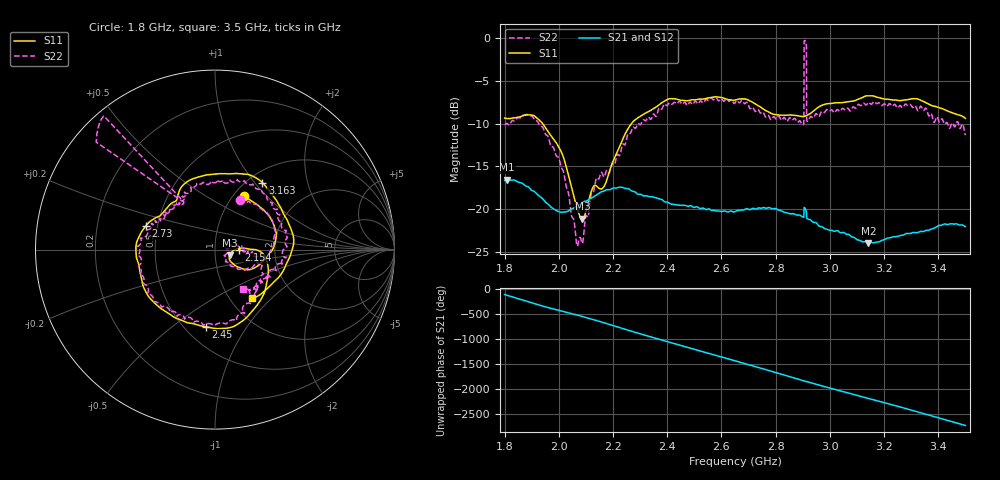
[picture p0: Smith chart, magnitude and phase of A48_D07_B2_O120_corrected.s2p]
! Created with skrf 1.9.0 (http://scikit-rf.org).
# Hz S RI R 50.0
!freq ReS11 ImS11 ReS21 ImS21 ReS12 ImS12 ReS22 ImS22
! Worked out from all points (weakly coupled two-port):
!   1601 points, 1.8 GHz to 3.5 GHz, reference 50 ohm
!   highest |S21| = -16.54 dB at 1.81 GHz (marker M1); lowest = -23.9 dB at 3.142 GHz (marker M2)
!   lowest |S11| = -21.1 dB at 2.087 GHz (marker M3), VSWR 1.19, Z = 58.8 - j3.83 ohm
!   |S11| at or under -10 dB: 1.94 GHz to 2.268 GHz (327.3 MHz wide, 15.6 % of centre)
!   |S22| runs from -24.3 to -0.3 dB; largest |S21 - S12| = 0.0028
!   S11 on the Smith chart (normalised r, x): 1.8 GHz: 1.12, +0.76; 2.154 GHz: 1.30, -0.01; 2.45 GHz: 0.63, -0.67; 2.73 GHz: 0.43, +0.14; 3.163 GHz: 1.16, +1.10; 3.5 GHz: 1.26, -0.77
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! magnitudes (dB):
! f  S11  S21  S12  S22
! 1.8 GHz  -9.4  -16.6  -16.6  -10.2
! 1.81 GHz  -9.4  -16.5  -16.5  -10.0
! 1.941 GHz  -10.0  -18.8  -18.8  -10.5
! 2.011 GHz  -13.5  -20.3  -20.3  -15.2
! 2.066 GHz  -19.7  -19.6  -19.6  -24.1
! 2.084 GHz  -21.1  -19.3  -19.3  -23.8
! 2.087 GHz  -21.1  -19.2  -19.2  -24.0
! 2.154 GHz  -17.6  -18.0  -18.0  -15.9
! 2.264 GHz  -10.1  -17.8  -17.8  -11.1
! 2.367 GHz  -7.9  -18.8  -18.7  -8.3
! 2.45 GHz  -7.3  -19.5  -19.5  -7.6
! 2.65 GHz  -7.3  -20.3  -20.2  -7.6
! 2.73 GHz  -7.8  -20.0  -20.0  -8.5
! 2.895 GHz  -9.2  -20.8  -20.8  -10.0
! 2.905 GHz  -9.2  -19.8  -19.8  -0.3
! 2.913 GHz  -9.1  -20.3  -20.3  -1.0
! 2.923 GHz  -8.9  -21.2  -21.2  -9.5
! 2.934 GHz  -8.7  -21.4  -21.4  -9.2
! 3.142 GHz  -6.7  -23.9  -23.8  -7.5
! 3.163 GHz  -6.8  -23.9  -23.9  -7.4
! 3.217 GHz  -7.2  -23.4  -23.3  -7.7
! 3.5 GHz  -9.4  -22.0  -22.0  -11.3
